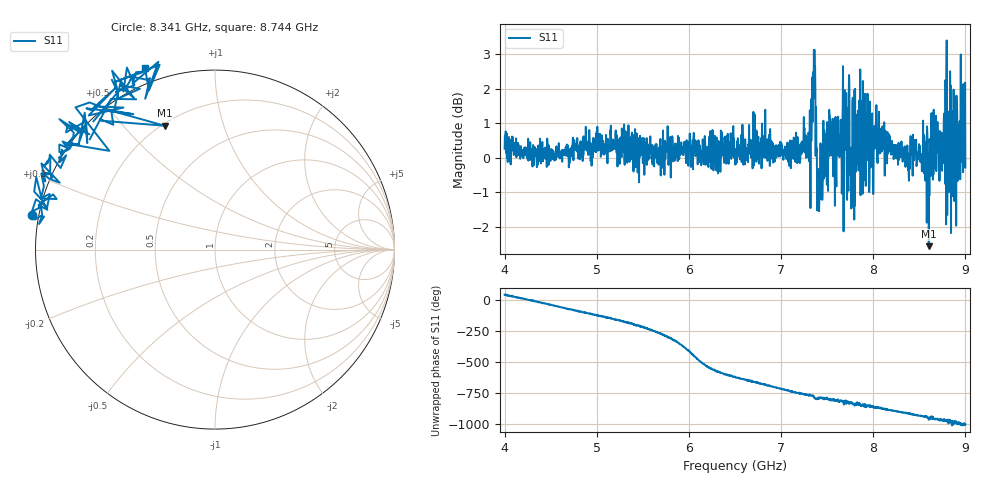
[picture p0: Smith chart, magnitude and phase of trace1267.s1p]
! Created with skrf 1.8.0 (http://scikit-rf.org).
# Hz S RI R 50.0
!freq ReS11 ImS11
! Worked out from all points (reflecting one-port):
!   1601 points, 4 GHz to 9 GHz, reference 50 ohm
!   lowest |S11| = -2.6 dB at 8.603 GHz (marker M1), VSWR 6.84, Z = 10.5 + j32.6 ohm
!   phase of S11 starts at 47 deg and turns -1053 deg over the sweep
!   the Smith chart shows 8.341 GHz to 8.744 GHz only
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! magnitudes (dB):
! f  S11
! 4 GHz  0.3
! 4.625 GHz  -0.1
! 5.25 GHz  -0.2
! 5.875 GHz  0.3
! 6.5 GHz  -0.1
! 7.125 GHz  0.5
! 7.294 GHz  0.2
! 7.347 GHz  2.5
! 7.362 GHz  3.1
! 7.4 GHz  -0.8
! 7.416 GHz  -1.1
! 7.538 GHz  1.0
! 7.591 GHz  1.2
! 7.688 GHz  0.4
! 7.75 GHz  -0.3
! 7.759 GHz  -0.2
! 7.769 GHz  -0.8
! 7.822 GHz  0.0
! 7.925 GHz  1.3
! 8.375 GHz  -0.2
! 8.441 GHz  0.0
! 8.603 GHz  -2.6
! 8.638 GHz  0.3
! 8.766 GHz  1.2
! 8.816 GHz  0.2
! 8.875 GHz  1.0
! 8.972 GHz  0.0
! 9 GHz  -0.3
